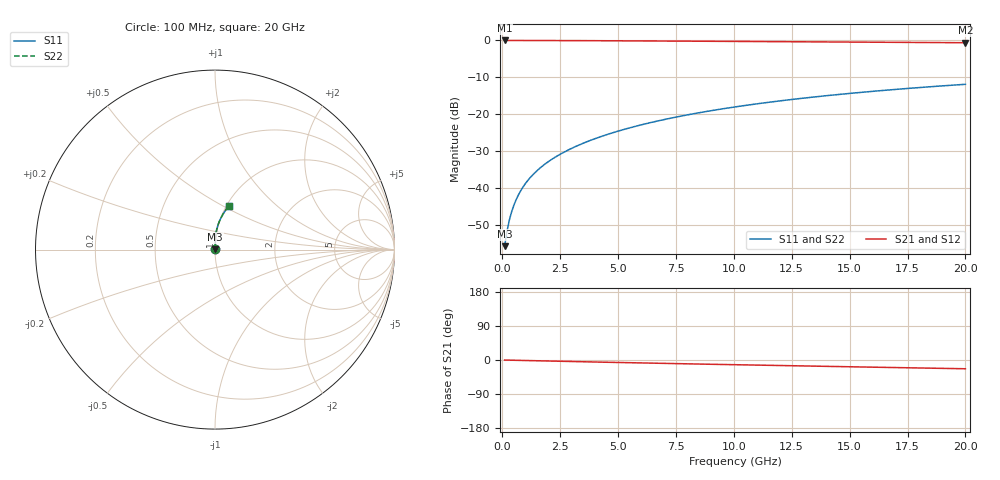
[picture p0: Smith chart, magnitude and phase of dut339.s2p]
! Touchstone file exported from HFSS 2024.1.0
!  File:  C:/UserFiles/LocalFiles/RDL_TSV_Batchsim/temp_RDL_bottom_339_1779611855.aedt
!  Generated:  04:40:13 PM May 24, 2026
!  Design:  RDL_bottom
!  Project:  temp_RDL_bottom_339_1779611855
!  Setup:  Setup1
!  Solution:  Sweep
! Variables:
!  dtsv = 10.80580581um
!  hbump = 3um
!  htsv = 72.21um
!  ldown = 280.12um
!  lrdl = 100um
!  p = 40
!  p1 = 59.44um
!  rhole = 1um
!  t = 450um
!  tdown = 4.58um
!  trdl = 3.915915916um
!  wdown = 22.78um
!  wrdl = 20um
# GHz S MA R 50.000000
! Terminal data exported
! Port[1] = RDL1_T1
! Port[2] = RDL1_T2
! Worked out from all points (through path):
!   200 points, 100 MHz to 20 GHz, reference 50 ohm
!   highest |S21| = -0.01 dB at 100 MHz (marker M1); lowest = -0.6 dB at 20 GHz (marker M2)
!   group delay of S21, straight-line fit = 3.17 ps
!   lowest |S11| = -55.6 dB at 100 MHz (marker M3), VSWR 1.00, Z = 50.1 + j0.122 ohm
!   |S11| at or under -10 dB: start of sweep to end of sweep
!   |S22| runs from -55.6 to -11.9 dB; largest |S21 - S12| = 3.4e-15
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0.1  0.001655 47.5  0.9989 -0.1  0.9989 -0.1  0.001655 47.5
! Gamma 0 0 0 0
! Port Impedance 50 0 50 0
0.2  0.002604 65.1  0.9988 -0.3  0.9988 -0.3  0.002604 65.1
0.3  0.003678 72.7  0.9987 -0.4  0.9987 -0.4  0.003678 72.7
0.4  0.004793 76.7  0.9986 -0.6  0.9986 -0.6  0.004792 76.7
0.5  0.005923 79.2  0.9986 -0.7  0.9986 -0.7  0.005923 79.2
0.7  0.008203 82.1  0.9984 -1.0  0.9984 -1.0  0.008202 82.1
0.8  0.009346 82.9  0.9983 -1.1  0.9983 -1.1  0.009345 82.9
1  0.01163 84.2  0.9981 -1.4  0.9981 -1.4  0.01163 84.2
1.2  0.01392 85.1  0.9979 -1.6  0.9979 -1.6  0.01392 85.1
1.4  0.01621 85.7  0.9976 -1.9  0.9976 -1.9  0.01621 85.7
1.7  0.01966 86.4  0.9972 -2.3  0.9972 -2.3  0.01966 86.4
2  0.02312 86.9  0.9966 -2.7  0.9966 -2.7  0.02312 86.9
2.7  0.03129 87.6  0.9951 -3.6  0.9951 -3.6  0.03129 87.6
3.5  0.04084 88.0  0.993 -4.7  0.993 -4.7  0.04084 88.1
4.2  0.0494 88.2  0.9909 -5.6  0.9909 -5.6  0.0494 88.2
5  0.05941 88.0  0.9882 -6.6  0.9882 -6.6  0.05942 88.0
6.8  0.0827 87.1  0.9818 -8.7  0.9818 -8.7  0.0827 87.1
8.4  0.104 85.7  0.9759 -10.6  0.9759 -10.6  0.104 85.7
10.1  0.1269 84.0  0.9695 -12.5  0.9695 -12.5  0.1269 84.0
13.4  0.1711 80.1  0.9571 -16.1  0.9571 -16.1  0.1712 80.1
16.7  0.2141 76.1  0.9443 -19.7  0.9443 -19.7  0.2142 76.1
20  0.2552 72.2  0.931 -23.1  0.931 -23.1  0.2553 72.2
